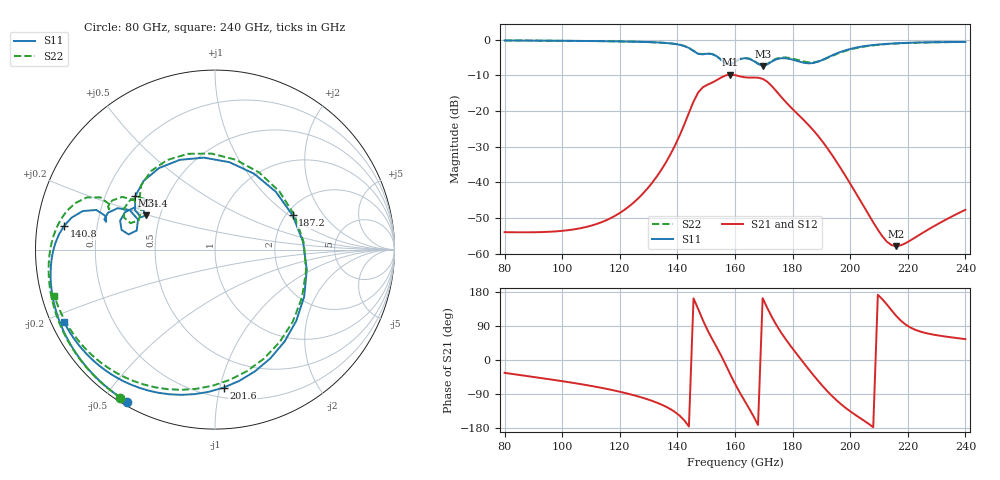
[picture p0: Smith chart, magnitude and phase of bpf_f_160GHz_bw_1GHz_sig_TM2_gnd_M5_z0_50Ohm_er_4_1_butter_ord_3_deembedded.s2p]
! Created with skrf 1.11.0 (http://scikit-rf.org).
# GHz S DB R 50.0
!freq dBS11 angS11 dBS21 angS21 dBS12 angS12 dBS22 angS22
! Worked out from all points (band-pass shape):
!   101 points, 80 GHz to 240 GHz, reference 50 ohm
!   highest |S21| = -9.76 dB at 158.4 GHz (marker M1); lowest = -57.9 dB at 216 GHz (marker M2)
!   |S21| within 3 dB of the highest: 150.1 GHz to 172.5 GHz (22.44 GHz wide, 13.9 % of centre)
!   lowest |S11| = -7.3 dB at 169.6 GHz (marker M3), VSWR 2.51, Z = 20.8 + j9.75 ohm
!   |S11| at or under -10 dB: nowhere
!   |S22| runs from -7.2 to -0.2 dB; largest |S21 - S12| = 1e-12
!   S11 on the Smith chart (normalised r, x): 80 GHz: 0.01, -0.58; 140.8 GHz: 0.08, +0.08; 174.4 GHz: 0.33, +0.27; 187.2 GHz: 2.16, +1.07; 201.6 GHz: 0.27, -1.03; 240 GHz: 0.04, -0.23
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80  -0.18 -120.1  -53.94 -33.9  -53.94 -33.9  -0.19 -122.6
107.2  -0.32 -146.1  -52.69 -64.7  -52.69 -64.7  -0.33 -150.2
121.6  -0.47 -160.5  -47.68 -86.6  -47.68 -86.6  -0.48 -165.4
134.4  -0.81 -176.8  -36.48 -117.4  -36.48 -117.4  -0.81 177.6
140.8  -1.39 171.2  -26.78 -147.0  -26.78 -147.0  -1.38 165.4
147.2  -3.94 163.0  -14.79 135.0  -14.79 135.0  -3.87 156.8
150.4  -3.89 164.7  -12.61 79.6  -12.61 79.6  -3.84 158.1
155.2  -5.63 155.2  -10.57 11.4  -10.57 11.4  -5.55 148.5
158.4  -6.96 166.3  -9.76 -38.3  -9.76 -38.3  -6.84 159.0
160  -6.22 170.1  -9.91 -62.6  -9.91 -62.6  -6.13 162.6
164.8  -5.30 157.4  -10.60 -126.6  -10.60 -126.6  -5.23 150.0
169.6  -7.32 153.7  -10.94 163.2  -10.94 163.2  -7.17 146.3
174.4  -5.43 146.2  -14.46 91.8  -14.46 91.8  -5.27 139.0
180.8  -5.74 96.9  -20.07 22.2  -20.07 22.2  -5.43 92.1
184  -6.46 62.7  -22.61 -9.1  -22.61 -9.1  -6.11 60.1
187.2  -6.50 23.9  -25.37 -39.7  -25.37 -39.7  -6.32 23.2
192  -5.01 -27.8  -30.32 -81.8  -30.32 -81.8  -5.14 -28.8
196.8  -3.35 -63.0  -36.15 -116.5  -36.15 -116.5  -3.53 -65.9
201.6  -2.26 -86.5  -42.47 -143.9  -42.47 -143.9  -2.40 -91.0
214.4  -1.05 -121.7  -57.58 130.8  -57.58 130.8  -1.11 -128.8
216  -0.99 -124.7  -57.86 116.2  -57.86 116.2  -1.04 -131.9
240  -0.60 -154.4  -47.66 55.0  -47.66 55.0  -0.62 -163.8
